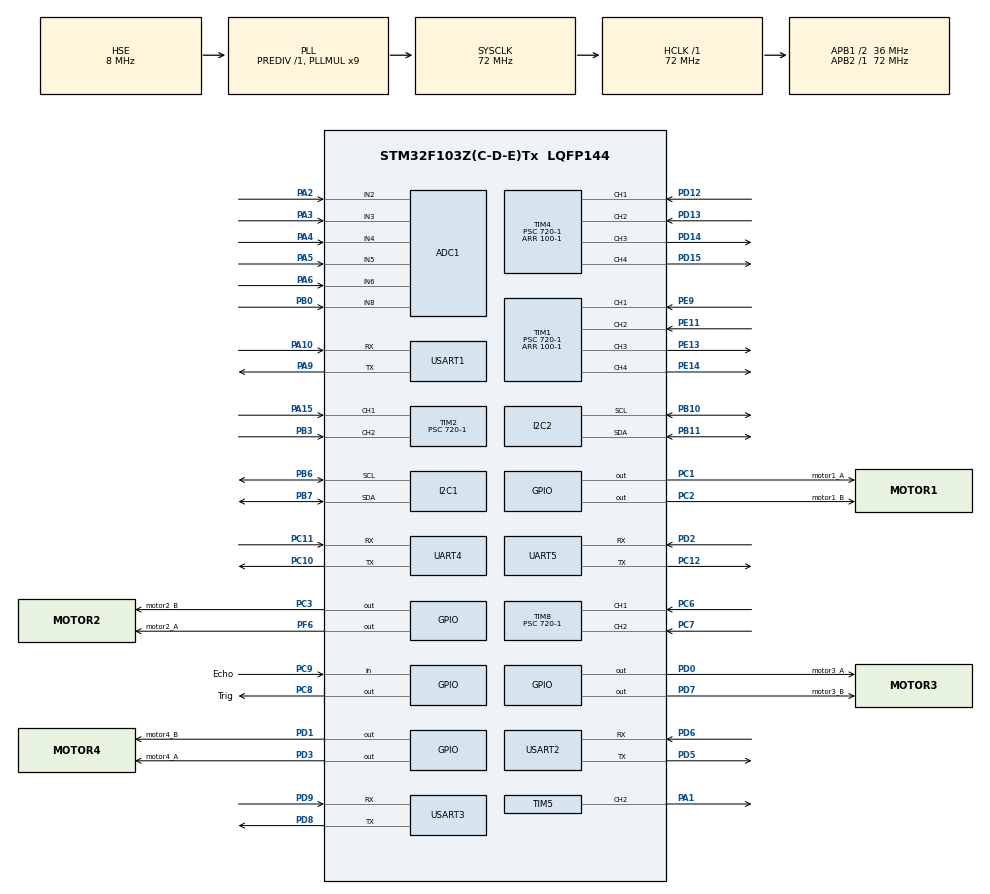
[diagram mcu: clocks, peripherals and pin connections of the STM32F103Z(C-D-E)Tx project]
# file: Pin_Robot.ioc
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ADC1.Channel-3\#ChannelRegularConversion=ADC_CHANNEL_2
ADC1.Channel-4\#ChannelRegularConversion=ADC_CHANNEL_3
ADC1.Channel-5\#ChannelRegularConversion=ADC_CHANNEL_4
ADC1.Channel-6\#ChannelRegularConversion=ADC_CHANNEL_5
ADC1.Channel-7\#ChannelRegularConversion=ADC_CHANNEL_6
ADC1.Channel-8\#ChannelRegularConversion=ADC_CHANNEL_8
ADC1.ContinuousConvMode=ENABLE
ADC1.ExternalTrigConv=ADC_EXTERNALTRIGCONV_T8_TRGO
ADC1.NbrOfConversion=6
ADC1.NbrOfConversionFlag=1
ADC1.Rank-3\#ChannelRegularConversion=1
ADC1.Rank-4\#ChannelRegularConversion=2
ADC1.Rank-5\#ChannelRegularConversion=3
ADC1.Rank-6\#ChannelRegularConversion=4
ADC1.Rank-7\#ChannelRegularConversion=5
ADC1.Rank-8\#ChannelRegularConversion=6
ADC1.SamplingTime-3\#ChannelRegularConversion=ADC_SAMPLETIME_13CYCLES_5
ADC1.SamplingTime-4\#ChannelRegularConversion=ADC_SAMPLETIME_13CYCLES_5
ADC1.SamplingTime-5\#ChannelRegularConversion=ADC_SAMPLETIME_13CYCLES_5
ADC1.SamplingTime-6\#ChannelRegularConversion=ADC_SAMPLETIME_13CYCLES_5
ADC1.SamplingTime-7\#ChannelRegularConversion=ADC_SAMPLETIME_13CYCLES_5
ADC1.SamplingTime-8\#ChannelRegularConversion=ADC_SAMPLETIME_13CYCLES_5
ADC1.master=1
Dma.Request0=USART3_RX
Dma.Request1=USART3_TX
Dma.Request2=USART1_RX
Dma.Request3=USART1_TX
Dma.USART1_RX.2.Direction=DMA_PERIPH_TO_MEMORY
Dma.USART1_RX.2.Instance=DMA1_Channel5
Dma.USART1_RX.2.MemDataAlignment=DMA_MDATAALIGN_BYTE
Dma.USART1_RX.2.MemInc=DMA_MINC_ENABLE
Dma.USART1_RX.2.Mode=DMA_NORMAL
Dma.USART1_RX.2.PeriphDataAlignment=DMA_PDATAALIGN_BYTE
Dma.USART1_RX.2.PeriphInc=DMA_PINC_DISABLE
Dma.USART1_RX.2.Priority=DMA_PRIORITY_MEDIUM
Dma.USART1_TX.3.Direction=DMA_MEMORY_TO_PERIPH
Dma.USART1_TX.3.Instance=DMA1_Channel4
Dma.USART1_TX.3.MemDataAlignment=DMA_MDATAALIGN_BYTE
Dma.USART1_TX.3.MemInc=DMA_MINC_ENABLE
Dma.USART1_TX.3.Mode=DMA_CIRCULAR
Dma.USART1_TX.3.PeriphDataAlignment=DMA_PDATAALIGN_BYTE
Dma.USART1_TX.3.PeriphInc=DMA_PINC_DISABLE
Dma.USART1_TX.3.Priority=DMA_PRIORITY_MEDIUM
Dma.USART3_RX.0.Direction=DMA_PERIPH_TO_MEMORY
Dma.USART3_RX.0.Instance=DMA1_Channel3
Dma.USART3_RX.0.MemDataAlignment=DMA_MDATAALIGN_BYTE
Dma.USART3_RX.0.MemInc=DMA_MINC_ENABLE
Dma.USART3_RX.0.Mode=DMA_NORMAL
Dma.USART3_RX.0.PeriphDataAlignment=DMA_PDATAALIGN_BYTE
Dma.USART3_RX.0.PeriphInc=DMA_PINC_DISABLE
Dma.USART3_RX.0.Priority=DMA_PRIORITY_MEDIUM
Dma.USART3_TX.1.Direction=DMA_MEMORY_TO_PERIPH
Dma.USART3_TX.1.Instance=DMA1_Channel2
Dma.USART3_TX.1.MemDataAlignment=DMA_MDATAALIGN_BYTE
Dma.USART3_TX.1.MemInc=DMA_MINC_ENABLE
Dma.USART3_TX.1.Mode=DMA_NORMAL
Dma.USART3_TX.1.PeriphDataAlignment=DMA_PDATAALIGN_BYTE
Dma.USART3_TX.1.PeriphInc=DMA_PINC_DISABLE
Dma.USART3_TX.1.Priority=DMA_PRIORITY_MEDIUM
Mcu.Family=STM32F1
Mcu.Name=STM32F103Z(C-D-E)Tx
Mcu.Package=LQFP144
NVIC.DMA1_Channel2_IRQn=true\:0\:0\:false\:false\:true\:false\:true\:true
NVIC.DMA1_Channel3_IRQn=true\:0\:0\:false\:false\:true\:false\:true\:true
NVIC.DMA1_Channel4_IRQn=true\:0\:0\:false\:false\:true\:false\:true\:true
NVIC.DMA1_Channel5_IRQn=true\:0\:0\:false\:false\:true\:false\:true\:true
NVIC.PriorityGroup=NVIC_PRIORITYGROUP_4
NVIC.TIM7_IRQn=true\:3\:0\:true\:false\:true\:true\:true\:true
NVIC.UART4_IRQn=true\:0\:0\:false\:false\:true\:true\:true\:true
NVIC.UART5_IRQn=true\:0\:0\:false\:false\:true\:true\:true\:true
NVIC.USART1_IRQn=true\:2\:0\:true\:false\:true\:true\:true\:true
NVIC.USART2_IRQn=true\:2\:0\:true\:false\:true\:true\:true\:true
NVIC.USART3_IRQn=true\:0\:0\:false\:false\:true\:true\:true\:true
OSC_IN.Mode=HSE-External-Oscillator
OSC_IN.Signal=RCC_OSC_IN
OSC_OUT.Mode=HSE-External-Oscillator
OSC_OUT.Signal=RCC_OSC_OUT
PA1.Signal=S_TIM5_CH2
PA10.Mode=Asynchronous
PA10.Signal=USART1_RX
PA13.Mode=Serial_Wire
PA13.Signal=SYS_JTMS-SWDIO
PA14.Mode=Serial_Wire
PA14.Signal=SYS_JTCK-SWCLK
PA15.Signal=S_TIM2_CH1_ETR
PA2.Signal=SharedAnalog_PA2
PA3.Signal=ADCx_IN3
PA4.Signal=ADCx_IN4
PA5.Signal=ADCx_IN5
PA6.Signal=ADCx_IN6
PA7.Signal=EVENTOUT
PA9.Mode=Asynchronous
PA9.Signal=USART1_TX
PB0.Signal=ADCx_IN8
PB1.Signal=ADCx_IN9
PB10.Mode=I2C
PB10.Signal=I2C2_SCL
PB11.Mode=I2C
PB11.Signal=I2C2_SDA
PB3.Signal=S_TIM2_CH2
PB6.Mode=I2C
PB6.Signal=I2C1_SCL
PB7.Mode=I2C
PB7.Signal=I2C1_SDA
PC0.Signal=ADCx_IN10
PC1.GPIO_Label=motor1_A
PC1.GPIO_PuPd=GPIO_PULLDOWN
PC1.Signal=GPIO_Output
PC10.Mode=Asynchronous
PC10.Signal=UART4_TX
PC11.Mode=Asynchronous
PC11.Signal=UART4_RX
PC12.Mode=Asynchronous
PC12.Signal=UART5_TX
PC2.GPIO_Label=motor1_B
PC2.GPIO_PuPd=GPIO_PULLDOWN
PC2.Signal=GPIO_Output
PC3.GPIO_Label=motor2_B
PC3.GPIO_PuPd=GPIO_PULLDOWN
PC3.Signal=GPIO_Output
PC6.Signal=S_TIM8_CH1
PC7.Signal=S_TIM8_CH2
PC8.GPIO_Label=Trig
PC8.Signal=GPIO_Output
PC9.GPIO_Label=Echo
PC9.Signal=GPIO_Input
PD0.GPIO_Label=motor3_A
PD0.GPIO_PuPd=GPIO_PULLDOWN
PD0.Signal=GPIO_Output
PD1.GPIO_Label=motor4_B
PD1.GPIO_PuPd=GPIO_PULLDOWN
PD1.Signal=GPIO_Output
PD12.Signal=S_TIM4_CH1
PD13.Signal=S_TIM4_CH2
PD14.Signal=S_TIM4_CH3
PD15.Signal=S_TIM4_CH4
PD2.Mode=Asynchronous
PD2.Signal=UART5_RX
PD3.GPIO_Label=motor4_A
PD3.GPIO_PuPd=GPIO_PULLDOWN
PD3.Signal=GPIO_Output
PD5.Mode=Asynchronous
PD5.Signal=USART2_TX
PD6.Mode=Asynchronous
PD6.Signal=USART2_RX
PD7.GPIO_Label=motor3_B
PD7.GPIO_PuPd=GPIO_PULLDOWN
PD7.Signal=GPIO_Output
PD8.Mode=Asynchronous
PD8.Signal=USART3_TX
PD9.Mode=Asynchronous
PD9.Signal=USART3_RX
PE11.Signal=S_TIM1_CH2
PE13.Signal=S_TIM1_CH3
PE14.Signal=S_TIM1_CH4
PE9.Signal=S_TIM1_CH1
PF6.GPIO_Label=motor2_A
PF6.GPIO_PuPd=GPIO_PULLDOWN
PF6.Signal=GPIO_Output
ProjectManager.HeapSize=0x200
ProjectManager.StackSize=0x400
ProjectManager.TargetToolchain=STM32CubeIDE
RCC.ADCPresc=RCC_ADCPCLK2_DIV6
RCC.AHBFreq_Value=72000000
RCC.APB1CLKDivider=RCC_HCLK_DIV2
RCC.APB1Freq_Value=36000000
RCC.APB1TimFreq_Value=72000000
RCC.APB2Freq_Value=72000000
RCC.APB2TimFreq_Value=72000000
RCC.HCLKFreq_Value=72000000
RCC.PLLMUL=RCC_PLL_MUL9
RCC.PLLSourceVirtual=RCC_PLLSOURCE_HSE
RCC.SYSCLKFreq_VALUE=72000000
RCC.SYSCLKSource=RCC_SYSCLKSOURCE_PLLCLK
RCC.USBFreq_Value=72000000
SH.ADCx_IN10.0=ADC1_IN10
SH.ADCx_IN3.0=ADC1_IN3,IN3
SH.ADCx_IN4.0=ADC1_IN4,IN4
SH.ADCx_IN5.0=ADC1_IN5,IN5
SH.ADCx_IN6.0=ADC1_IN6,IN6
SH.ADCx_IN8.0=ADC1_IN8,IN8
SH.ADCx_IN9.0=ADC1_IN9
SH.S_TIM1_CH1.0=TIM1_CH1,Encoder_Interface
SH.S_TIM1_CH2.0=TIM1_CH2,Encoder_Interface
SH.S_TIM1_CH3.0=TIM1_CH3,PWM Generation3 CH3
SH.S_TIM1_CH4.0=TIM1_CH4,PWM Generation4 CH4
SH.S_TIM2_CH1_ETR.0=TIM2_CH1,Encoder_Interface
SH.S_TIM2_CH2.0=TIM2_CH2,Encoder_Interface
SH.S_TIM4_CH1.0=TIM4_CH1,Encoder_Interface
SH.S_TIM4_CH2.0=TIM4_CH2,Encoder_Interface
SH.S_TIM4_CH3.0=TIM4_CH3,PWM Generation3 CH3
SH.S_TIM4_CH4.0=TIM4_CH4,PWM Generation4 CH4
SH.S_TIM5_CH2.0=TIM5_CH2,PWM Generation2 CH2
SH.S_TIM8_CH1.0=TIM8_CH1,Encoder_Interface
SH.S_TIM8_CH2.0=TIM8_CH2,Encoder_Interface
SH.SharedAnalog_PA2.0=GPIO_Analog
SH.SharedAnalog_PA2.1=ADC1_IN2,IN2
TIM1.Channel-PWM\ Generation3\ CH3=TIM_CHANNEL_3
TIM1.Channel-PWM\ Generation4\ CH4=TIM_CHANNEL_4
TIM1.Period=100-1
TIM1.Prescaler=720-1
TIM2.AutoReloadPreload=TIM_AUTORELOAD_PRELOAD_ENABLE
TIM2.EncoderMode=TIM_ENCODERMODE_TI12
TIM2.Period=100-1
TIM2.Prescaler=720-1
TIM4.AutoReloadPreload=TIM_AUTORELOAD_PRELOAD_ENABLE
TIM4.Channel-PWM\ Generation3\ CH3=TIM_CHANNEL_3
TIM4.Channel-PWM\ Generation4\ CH4=TIM_CHANNEL_4
TIM4.EncoderMode=TIM_ENCODERMODE_TI12
TIM4.Period=100-1
TIM4.Prescaler=720-1
TIM5.Channel-PWM\ Generation2\ CH2=TIM_CHANNEL_2
TIM7.Period=65535
TIM7.Prescaler=71
TIM8.Period=100-1
TIM8.Prescaler=720-1
UART4.VirtualMode=Asynchronous
UART5.VirtualMode=Asynchronous
USART1.VirtualMode=VM_ASYNC
USART2.VirtualMode=VM_ASYNC
USART3.VirtualMode=VM_ASYNC
VP_TIM7_VS_ClockSourceINT.Mode=Enable_Timer
board=custom

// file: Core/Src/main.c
/* USER CODE BEGIN Header */
/**
  ******************************************************************************
  * @file           : main.c
  * @brief          : Main program body
  ******************************************************************************
  * @attention
  *
  * Copyright (c) 2022 STMicroelectronics.
  * All rights reserved.
  *
  * This software is licensed under terms that can be found in the LICENSE file
  * in the root directory of this software component.
  * If no LICENSE file comes with this software, it is provided AS-IS.
  *
  ******************************************************************************
  */
/* USER CODE END Header */
#include "main.h"
#include "adc.h"
#include "dma.h"
#include "i2c.h"
#include "tim.h"
#include "usart.h"
#include "gpio.h"
#include "PID.h"
#include "laser.h"

void SystemClock_Config(void);

short Target_Speed[4]={20,20,20,20}; //目标速度
short error[4]; //误差

short Speed[4] = 0;
short real_speed = 0;
static i = 1;
int main(void)
{

    /* MCU Configuration--------------------------------------------------------*/

    /* Reset of all peripherals, Initializes the Flash interface and the Systick. */
    HAL_Init();

    /* Configure the system clock */
    SystemClock_Config();

    /* Initialize all configured peripherals */
    MX_GPIO_Init();
    MX_DMA_Init();
    MX_ADC1_Init();
    MX_I2C1_Init();
    MX_TIM1_Init();
    MX_TIM2_Init();
    MX_TIM4_Init();
    MX_TIM5_Init();
    MX_TIM7_Init();
    MX_TIM8_Init();
    MX_USART1_UART_Init();
    MX_USART2_UART_Init();
    MX_UART4_Init();
    MX_UART5_Init();
    MX_I2C2_Init();
    MX_USART3_UART_Init();
    /* USER CODE BEGIN 2 */
    HAL_TIM_PWM_Start(&htim1,TIM_CHANNEL_3);
    HAL_TIM_PWM_Start(&htim1,TIM_CHANNEL_4);
    HAL_TIM_PWM_Start(&htim4,TIM_CHANNEL_3);
    HAL_TIM_PWM_Start(&htim4,TIM_CHANNEL_4);

    /*   TIM1->CHANNEL3 == 电机1
    /*   TIM1->CHANNEL4 == 电机2
    /*   TIM4->CHANNEL3 == 电机3
    /*   TIM4->CHANNEL4 == 电机4
    /*   TIM5->CHANNEL2 == 舵机
     *
     * */

    HAL_TIM_Base_Start_IT(&htim7);
    //打开编码器
    HAL_TIM_Encoder_Start(&htim1,TIM_CHANNEL_ALL);
    HAL_TIM_Encoder_Start(&htim2,TIM_CHANNEL_ALL);
    HAL_TIM_Encoder_Start(&htim4,TIM_CHANNEL_ALL);
    HAL_TIM_Encoder_Start(&htim8,TIM_CHANNEL_ALL);
    /* USER CODE END 2 */

    /* Infinite loop */
    /* USER CODE BEGIN WHILE */

    uint8_t at1[]="AT+CIPMUX=0\r\n";
    uint8_t at2[]="AT+CIPSTART=\"TCP\",\"192.168.50.100\",8080\r\n";
    uint8_t at3[]="AT+CIPMODE=1\r\n";
    uint8_t at4[]="AT+CIPSEND\r\n";
    HAL_UART_Transmit(&huart1, at1,strlen(at1), 1000);
    HAL_Delay(100);
    HAL_UART_Transmit(&huart1, at2, strlen(at2), 1000);
    HAL_Delay(100);
    HAL_UART_Transmit(&huart1, at3, strlen(at3), 1000);
    HAL_Delay(100);
    HAL_UART_Transmit(&huart1, at4, strlen(at4), 1000);

    uint8_t cmd1="";

    printf("start\n");

    HAL_UART_Transmit(&huart3,cmd1,9,1000);
    HAL_Delay(200);
    while (1)
    {
        HAL_UART_Receive_IT(&huart2,rx_data,10);
//        distance_front=get_Distance();
//        HAL_UART_Receive_IT(&huart2,rx_data,3);
        HAL_UART_Receive_IT(&huart1,rx_data,3);
        /* USER CODE END WHILE */

        /* USER CODE BEGIN 3 */
        HAL_UART_Receive_DMA(&huart3,receiveDis,12);

    }
    /* USER CODE END 3 */
}
void HAL_UART_RxCpltCallback(UART_HandleTypeDef *huart)
{

}
void HAL_TIM_PeriodElapsedCallback(TIM_HandleTypeDef *htim)
{
    if(htim->Instance==TIM7)
    {
        real_speed = GetSpeed(i);
        Speed[i] += Generic_PID_Cal(i,real_speed,Target_Speed[i]);

        if(i == 5){i=1;}
    }
}
void SystemClock_Config(void)
{
    RCC_OscInitTypeDef RCC_OscInitStruct = {0};
    RCC_ClkInitTypeDef RCC_ClkInitStruct = {0};
    RCC_PeriphCLKInitTypeDef PeriphClkInit = {0};

    /** Initializes the RCC Oscillators according to the specified parameters
    * in the RCC_OscInitTypeDef structure.
    */
    RCC_OscInitStruct.OscillatorType = RCC_OSCILLATORTYPE_HSE;
    RCC_OscInitStruct.HSEState = RCC_HSE_ON;
    RCC_OscInitStruct.HSEPredivValue = RCC_HSE_PREDIV_DIV1;
    RCC_OscInitStruct.HSIState = RCC_HSI_ON;
    RCC_OscInitStruct.PLL.PLLState = RCC_PLL_ON;
    RCC_OscInitStruct.PLL.PLLSource = RCC_PLLSOURCE_HSE;
    RCC_OscInitStruct.PLL.PLLMUL = RCC_PLL_MUL9;
    if (HAL_RCC_OscConfig(&RCC_OscInitStruct) != HAL_OK)
    {
        Error_Handler();
    }

    /** Initializes the CPU, AHB and APB buses clocks
    */
    RCC_ClkInitStruct.ClockType = RCC_CLOCKTYPE_HCLK|RCC_CLOCKTYPE_SYSCLK
                                  |RCC_CLOCKTYPE_PCLK1|RCC_CLOCKTYPE_PCLK2;
    RCC_ClkInitStruct.SYSCLKSource = RCC_SYSCLKSOURCE_PLLCLK;
    RCC_ClkInitStruct.AHBCLKDivider = RCC_SYSCLK_DIV1;
    RCC_ClkInitStruct.APB1CLKDivider = RCC_HCLK_DIV2;
    RCC_ClkInitStruct.APB2CLKDivider = RCC_HCLK_DIV1;

    if (HAL_RCC_ClockConfig(&RCC_ClkInitStruct, FLASH_LATENCY_2) != HAL_OK)
    {
        Error_Handler();
    }
    PeriphClkInit.PeriphClockSelection = RCC_PERIPHCLK_ADC;
    PeriphClkInit.AdcClockSelection = RCC_ADCPCLK2_DIV6;
    if (HAL_RCCEx_PeriphCLKConfig(&PeriphClkInit) != HAL_OK)
    {
        Error_Handler();
    }
}

void Error_Handler(void)
{
    __disable_irq();
    while (1)
    {
    }
}
